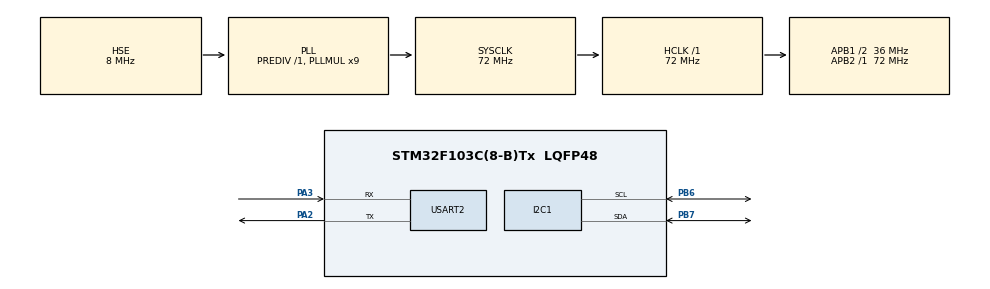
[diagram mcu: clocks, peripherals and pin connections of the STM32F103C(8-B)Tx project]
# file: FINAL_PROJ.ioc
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Mcu.Family=STM32F1
Mcu.Name=STM32F103C(8-B)Tx
Mcu.Package=LQFP48
NVIC.PriorityGroup=NVIC_PRIORITYGROUP_4
PA13.Mode=Serial_Wire
PA13.Signal=SYS_JTMS-SWDIO
PA14.Mode=Serial_Wire
PA14.Signal=SYS_JTCK-SWCLK
PA2.Mode=Asynchronous
PA2.Signal=USART2_TX
PA3.Mode=Asynchronous
PA3.Signal=USART2_RX
PB6.Mode=I2C
PB6.Signal=I2C1_SCL
PB7.Mode=I2C
PB7.Signal=I2C1_SDA
PD0-OSC_IN.Mode=HSE-External-Oscillator
PD0-OSC_IN.Signal=RCC_OSC_IN
PD1-OSC_OUT.Mode=HSE-External-Oscillator
PD1-OSC_OUT.Signal=RCC_OSC_OUT
ProjectManager.HeapSize=0x200
ProjectManager.StackSize=0x400
ProjectManager.TargetToolchain=MDK-ARM V5.32
RCC.AHBFreq_Value=72000000
RCC.APB1CLKDivider=RCC_HCLK_DIV2
RCC.APB1Freq_Value=36000000
RCC.APB1TimFreq_Value=72000000
RCC.APB2Freq_Value=72000000
RCC.APB2TimFreq_Value=72000000
RCC.HCLKFreq_Value=72000000
RCC.PLLMUL=RCC_PLL_MUL9
RCC.PLLSourceVirtual=RCC_PLLSOURCE_HSE
RCC.SYSCLKFreq_VALUE=72000000
RCC.SYSCLKSource=RCC_SYSCLKSOURCE_PLLCLK
RCC.USBFreq_Value=72000000
USART2.VirtualMode=VM_ASYNC
board=custom

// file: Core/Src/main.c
/* USER CODE BEGIN Header */
/**
  ******************************************************************************
  * @file           : main.c
  * @brief          : Main program body
  ******************************************************************************
  * @attention
  *
  * Copyright (c) 2026 STMicroelectronics.
  * All rights reserved.
  *
  * This software is licensed under terms that can be found in the LICENSE file
  * in the root directory of this software component.
  * If no LICENSE file comes with this software, it is provided AS-IS.
  *
  ******************************************************************************
  */
/* USER CODE END Header */
#include "main.h"
#include "ESPLib.h"
#include "bme280.h"
#include <stdio.h>

I2C_HandleTypeDef hi2c1;

UART_HandleTypeDef huart2;

/* USER CODE BEGIN PV */
struct bme280_dev dev;
struct bme280_data comp_data;
struct bme280_settings settings;
int8_t rslt = BME280_OK;

float temperature, pressure, humidity;
char mqtt_payload[128];
/* USER CODE END PV */

void SystemClock_Config(void);
static void MX_GPIO_Init(void);
static void MX_I2C1_Init(void);
static void MX_USART2_UART_Init(void);

/* USER CODE BEGIN PFP */
int8_t user_i2c_read(uint8_t reg_addr, uint8_t *reg_data, uint32_t len, void *intf_ptr);
int8_t user_i2c_write(uint8_t reg_addr, const uint8_t *reg_data, uint32_t len, void *intf_ptr);
void user_delay_us(uint32_t period, void *intf_ptr);
/* USER CODE END PFP */

int main(void)
{

  /* MCU Configuration--------------------------------------------------------*/

  /* Reset of all peripherals, Initializes the Flash interface and the Systick. */
  HAL_Init();

  /* Configure the system clock */
  SystemClock_Config();

  /* Initialize all configured peripherals */
  MX_GPIO_Init();
  MX_I2C1_Init();
  MX_USART2_UART_Init();
  /* USER CODE BEGIN 2 */
	// 1. Initialize the Wi-Fi module on USART2
	ESP8266_Init(StationMode, huart2);
	// 2. Connect to your local Wi-Fi network (Replace with your Router SSID and Password)
	ESP8266_wifiConnect("SNUC", "snu12345");
	// 3. Connect to your MQTT Broker (Replace with your Broker's IP Address)
	// 1883 is the standard unencrypted MQTT port
	ESP8266_portConnect("TCP", "broker.emqx.io", "1883");
	// 4. Configure the MQTT client connection parameters
	MQTT_InitTypeDef_t mqttSetting;
	mqttSetting.keepAlive = 500;
	mqttSetting.connectFlag = CleanSession;
	mqttSetting.clientID = "stm_final_proj";
	// 5. Handshake with the MQTT broker
	MQTT_connectBroker(&mqttSetting);

	static uint8_t dev_addr = BME280_I2C_ADDR_PRIM; // 0x76 (use BME280_I2C_ADDR_SEC if SDO is high)
	// Set up the API configuration function pointers
	dev.intf_ptr = &dev_addr;
	dev.intf = BME280_I2C_INTF;
	dev.read = user_i2c_read;
	dev.write = user_i2c_write;
	dev.delay_us = user_delay_us;
	// Initialize the BME280 sensor (This automatically extracts the compensation data)
	rslt = bme280_init(&dev);
	// Configure sensor settings
	settings.osr_h = BME280_OVERSAMPLING_1X;
	settings.osr_p = BME280_OVERSAMPLING_1X;
	settings.osr_t = BME280_OVERSAMPLING_1X;
	settings.filter = BME280_FILTER_COEFF_OFF;
	rslt = bme280_set_sensor_settings(BME280_SEL_OSR_PRESS | BME280_SEL_OSR_TEMP |
	BME280_SEL_OSR_HUM | BME280_SEL_FILTER, &settings ,&dev);
	// Set power mode to normal to enable continuous measurement cycles
	rslt = bme280_set_sensor_mode(BME280_POWERMODE_NORMAL, &dev);
  /* USER CODE END 2 */

  /* Infinite loop */
  while (1)
  {
		/* 1. Read and compensate BME280 sensor data */
    rslt = bme280_get_sensor_data(BME280_ALL, &comp_data, &dev);
    if (rslt == BME280_OK)
    {
      temperature = comp_data.temperature;        /* °C */
      pressure    = comp_data.pressure / 100.0f;  /* Convert Pa to hPa */
      humidity    = comp_data.humidity;           /* % Relative Humidity */

      /* 2. Format the data into standard JSON */
      snprintf(mqtt_payload, sizeof(mqtt_payload),
               "{\"temperature\":%.2f,\"pressure\":%.2f,\"humidity\":%.2f}",
               temperature, pressure, humidity);

      /* 3. Publish formatted JSON payload to MQTT */
      MQTT_publishTopic("stm32/trivee/data", mqtt_payload, QoS0);
			}

			/* Wait before sending next telemetry packet */
			HAL_Delay(2000);
  }
}

void SystemClock_Config(void)
{
  RCC_OscInitTypeDef RCC_OscInitStruct = {0};
  RCC_ClkInitTypeDef RCC_ClkInitStruct = {0};

  /** Initializes the RCC Oscillators according to the specified parameters
  * in the RCC_OscInitTypeDef structure.
  */
  RCC_OscInitStruct.OscillatorType = RCC_OSCILLATORTYPE_HSE;
  RCC_OscInitStruct.HSEState = RCC_HSE_ON;
  RCC_OscInitStruct.HSEPredivValue = RCC_HSE_PREDIV_DIV1;
  RCC_OscInitStruct.HSIState = RCC_HSI_ON;
  RCC_OscInitStruct.PLL.PLLState = RCC_PLL_ON;
  RCC_OscInitStruct.PLL.PLLSource = RCC_PLLSOURCE_HSE;
  RCC_OscInitStruct.PLL.PLLMUL = RCC_PLL_MUL9;
  if (HAL_RCC_OscConfig(&RCC_OscInitStruct) != HAL_OK)
  {
    Error_Handler();
  }

  /** Initializes the CPU, AHB and APB buses clocks
  */
  RCC_ClkInitStruct.ClockType = RCC_CLOCKTYPE_HCLK|RCC_CLOCKTYPE_SYSCLK
                              |RCC_CLOCKTYPE_PCLK1|RCC_CLOCKTYPE_PCLK2;
  RCC_ClkInitStruct.SYSCLKSource = RCC_SYSCLKSOURCE_PLLCLK;
  RCC_ClkInitStruct.AHBCLKDivider = RCC_SYSCLK_DIV1;
  RCC_ClkInitStruct.APB1CLKDivider = RCC_HCLK_DIV2;
  RCC_ClkInitStruct.APB2CLKDivider = RCC_HCLK_DIV1;

  if (HAL_RCC_ClockConfig(&RCC_ClkInitStruct, FLASH_LATENCY_2) != HAL_OK)
  {
    Error_Handler();
  }
}

static void MX_I2C1_Init(void)
{

  hi2c1.Instance = I2C1;
  hi2c1.Init.ClockSpeed = 100000;
  hi2c1.Init.DutyCycle = I2C_DUTYCYCLE_2;
  hi2c1.Init.OwnAddress1 = 0;
  hi2c1.Init.AddressingMode = I2C_ADDRESSINGMODE_7BIT;
  hi2c1.Init.DualAddressMode = I2C_DUALADDRESS_DISABLE;
  hi2c1.Init.OwnAddress2 = 0;
  hi2c1.Init.GeneralCallMode = I2C_GENERALCALL_DISABLE;
  hi2c1.Init.NoStretchMode = I2C_NOSTRETCH_DISABLE;
  if (HAL_I2C_Init(&hi2c1) != HAL_OK)
  {
    Error_Handler();
  }

}

static void MX_USART2_UART_Init(void)
{

  huart2.Instance = USART2;
  huart2.Init.BaudRate = 115200;
  huart2.Init.WordLength = UART_WORDLENGTH_8B;
  huart2.Init.StopBits = UART_STOPBITS_1;
  huart2.Init.Parity = UART_PARITY_NONE;
  huart2.Init.Mode = UART_MODE_TX_RX;
  huart2.Init.HwFlowCtl = UART_HWCONTROL_NONE;
  huart2.Init.OverSampling = UART_OVERSAMPLING_16;
  if (HAL_UART_Init(&huart2) != HAL_OK)
  {
    Error_Handler();
  }

}

static void MX_GPIO_Init(void)
{

  /* GPIO Ports Clock Enable */
  __HAL_RCC_GPIOD_CLK_ENABLE();
  __HAL_RCC_GPIOA_CLK_ENABLE();
  __HAL_RCC_GPIOB_CLK_ENABLE();

}

/* USER CODE BEGIN 4 */
int8_t user_i2c_read(uint8_t reg_addr, uint8_t *reg_data, uint32_t len, void *intf_ptr) {
    uint8_t dev_addr = *(uint8_t*)intf_ptr;
    if (HAL_I2C_Mem_Read(&hi2c1, (dev_addr << 1), reg_addr, I2C_MEMADD_SIZE_8BIT, reg_data, len, HAL_MAX_DELAY) == HAL_OK) {
        return BME280_OK;
    }
    return BME280_E_COMM_FAIL;
}

int8_t user_i2c_write(uint8_t reg_addr, const uint8_t *reg_data, uint32_t len, void *intf_ptr) {
    uint8_t dev_addr = *(uint8_t*)intf_ptr;
    if (HAL_I2C_Mem_Write(&hi2c1, (dev_addr << 1), reg_addr, I2C_MEMADD_SIZE_8BIT, (uint8_t*)reg_data, len, HAL_MAX_DELAY) == HAL_OK) {
        return BME280_OK;
    }
    return BME280_E_COMM_FAIL;
}

void user_delay_us(uint32_t period, void *intf_ptr) {
    HAL_Delay((period / 1000) + 1);
}
/* USER CODE END 4 */

void Error_Handler(void)
{
  __disable_irq();
  while (1)
  {
  }
}
